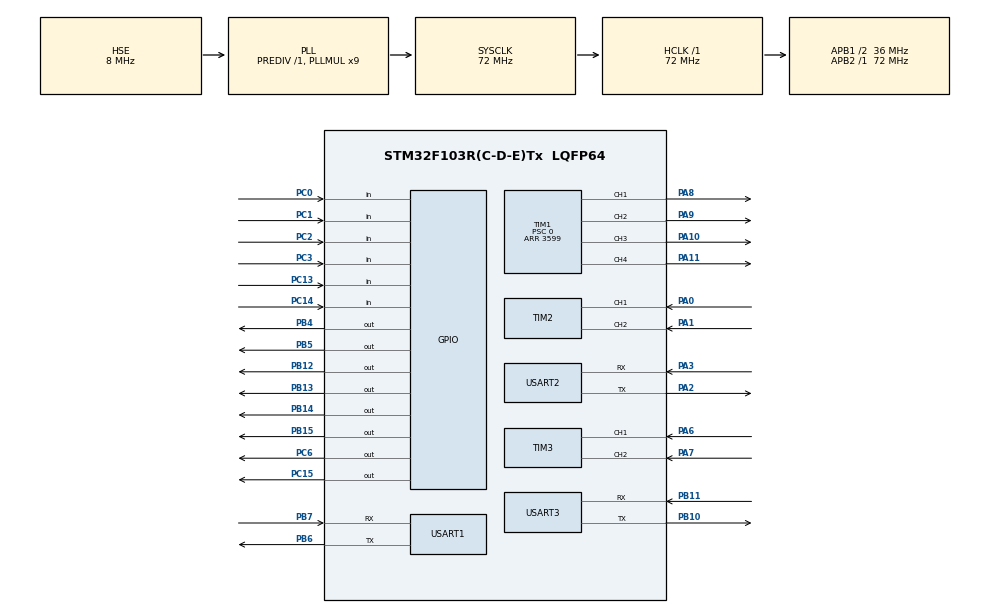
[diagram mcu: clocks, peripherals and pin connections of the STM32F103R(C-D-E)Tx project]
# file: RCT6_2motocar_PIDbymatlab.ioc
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Dma.Request0=USART1_TX
Dma.Request1=USART1_RX
Dma.Request2=USART2_RX
Dma.Request3=USART2_TX
Dma.Request4=USART3_RX
Dma.Request5=USART3_TX
Dma.USART1_RX.1.Direction=DMA_PERIPH_TO_MEMORY
Dma.USART1_RX.1.Instance=DMA1_Channel5
Dma.USART1_RX.1.MemDataAlignment=DMA_MDATAALIGN_BYTE
Dma.USART1_RX.1.MemInc=DMA_MINC_ENABLE
Dma.USART1_RX.1.Mode=DMA_NORMAL
Dma.USART1_RX.1.PeriphDataAlignment=DMA_PDATAALIGN_BYTE
Dma.USART1_RX.1.PeriphInc=DMA_PINC_DISABLE
Dma.USART1_RX.1.Priority=DMA_PRIORITY_LOW
Dma.USART1_TX.0.Direction=DMA_MEMORY_TO_PERIPH
Dma.USART1_TX.0.Instance=DMA1_Channel4
Dma.USART1_TX.0.MemDataAlignment=DMA_MDATAALIGN_BYTE
Dma.USART1_TX.0.MemInc=DMA_MINC_ENABLE
Dma.USART1_TX.0.Mode=DMA_NORMAL
Dma.USART1_TX.0.PeriphDataAlignment=DMA_PDATAALIGN_BYTE
Dma.USART1_TX.0.PeriphInc=DMA_PINC_DISABLE
Dma.USART1_TX.0.Priority=DMA_PRIORITY_LOW
Dma.USART2_RX.2.Direction=DMA_PERIPH_TO_MEMORY
Dma.USART2_RX.2.Instance=DMA1_Channel6
Dma.USART2_RX.2.MemDataAlignment=DMA_MDATAALIGN_BYTE
Dma.USART2_RX.2.MemInc=DMA_MINC_ENABLE
Dma.USART2_RX.2.Mode=DMA_NORMAL
Dma.USART2_RX.2.PeriphDataAlignment=DMA_PDATAALIGN_BYTE
Dma.USART2_RX.2.PeriphInc=DMA_PINC_DISABLE
Dma.USART2_RX.2.Priority=DMA_PRIORITY_LOW
Dma.USART2_TX.3.Direction=DMA_MEMORY_TO_PERIPH
Dma.USART2_TX.3.Instance=DMA1_Channel7
Dma.USART2_TX.3.MemDataAlignment=DMA_MDATAALIGN_BYTE
Dma.USART2_TX.3.MemInc=DMA_MINC_ENABLE
Dma.USART2_TX.3.Mode=DMA_NORMAL
Dma.USART2_TX.3.PeriphDataAlignment=DMA_PDATAALIGN_BYTE
Dma.USART2_TX.3.PeriphInc=DMA_PINC_DISABLE
Dma.USART2_TX.3.Priority=DMA_PRIORITY_LOW
Dma.USART3_RX.4.Direction=DMA_PERIPH_TO_MEMORY
Dma.USART3_RX.4.Instance=DMA1_Channel3
Dma.USART3_RX.4.MemDataAlignment=DMA_MDATAALIGN_BYTE
Dma.USART3_RX.4.MemInc=DMA_MINC_ENABLE
Dma.USART3_RX.4.Mode=DMA_NORMAL
Dma.USART3_RX.4.PeriphDataAlignment=DMA_PDATAALIGN_BYTE
Dma.USART3_RX.4.PeriphInc=DMA_PINC_DISABLE
Dma.USART3_RX.4.Priority=DMA_PRIORITY_LOW
Dma.USART3_TX.5.Direction=DMA_MEMORY_TO_PERIPH
Dma.USART3_TX.5.Instance=DMA1_Channel2
Dma.USART3_TX.5.MemDataAlignment=DMA_MDATAALIGN_BYTE
Dma.USART3_TX.5.MemInc=DMA_MINC_ENABLE
Dma.USART3_TX.5.Mode=DMA_NORMAL
Dma.USART3_TX.5.PeriphDataAlignment=DMA_PDATAALIGN_BYTE
Dma.USART3_TX.5.PeriphInc=DMA_PINC_DISABLE
Dma.USART3_TX.5.Priority=DMA_PRIORITY_LOW
FREERTOS.INCLUDE_vTaskDelayUntil=1
FREERTOS.Tasks01=defaultTask,0,128,StartDefaultTask,Default,NULL,Dynamic,NULL,NULL
FREERTOS.configTOTAL_HEAP_SIZE=20480
Mcu.Family=STM32F1
Mcu.Name=STM32F103R(C-D-E)Tx
Mcu.Package=LQFP64
NVIC.DMA1_Channel2_IRQn=true\:5\:0\:false\:false\:true\:true\:false\:true\:true
NVIC.DMA1_Channel3_IRQn=true\:5\:0\:false\:false\:true\:true\:false\:true\:true
NVIC.DMA1_Channel4_IRQn=true\:5\:0\:false\:false\:true\:true\:false\:true\:true
NVIC.DMA1_Channel5_IRQn=true\:5\:0\:false\:false\:true\:true\:false\:true\:true
NVIC.DMA1_Channel6_IRQn=true\:5\:0\:false\:false\:true\:true\:false\:true\:true
NVIC.DMA1_Channel7_IRQn=true\:5\:0\:false\:false\:true\:true\:false\:true\:true
NVIC.PriorityGroup=NVIC_PRIORITYGROUP_4
NVIC.TIM6_IRQn=true\:15\:0\:false\:false\:true\:false\:false\:true\:true
NVIC.TimeBase=TIM6_IRQn
NVIC.TimeBaseIP=TIM6
NVIC.USART1_IRQn=true\:5\:0\:false\:false\:true\:true\:true\:true\:true
NVIC.USART2_IRQn=true\:5\:0\:false\:false\:true\:true\:true\:true\:true
NVIC.USART3_IRQn=true\:5\:0\:false\:false\:true\:true\:true\:true\:true
PA0-WKUP.GPIO_PuPd=GPIO_PULLUP
PA0-WKUP.Signal=S_TIM2_CH1_ETR
PA1.GPIO_PuPd=GPIO_PULLUP
PA1.Signal=S_TIM2_CH2
PA10.Signal=S_TIM1_CH3
PA11.Signal=S_TIM1_CH4
PA13.Mode=Serial_Wire
PA13.Signal=SYS_JTMS-SWDIO
PA14.Mode=Serial_Wire
PA14.Signal=SYS_JTCK-SWCLK
PA2.Mode=Asynchronous
PA2.Signal=USART2_TX
PA3.Mode=Asynchronous
PA3.Signal=USART2_RX
PA6.GPIO_PuPd=GPIO_PULLUP
PA6.Signal=S_TIM3_CH1
PA7.GPIO_PuPd=GPIO_PULLUP
PA7.Signal=S_TIM3_CH2
PA8.Signal=S_TIM1_CH1
PA9.Signal=S_TIM1_CH2
PB10.Mode=Asynchronous
PB10.Signal=USART3_TX
PB11.Mode=Asynchronous
PB11.Signal=USART3_RX
PB12.GPIO_ModeDefaultOutputPP=GPIO_MODE_OUTPUT_PP
PB12.GPIO_PuPd=GPIO_NOPULL
PB12.GPIO_Speed=GPIO_SPEED_FREQ_LOW
PB12.PinState=GPIO_PIN_RESET
PB12.Signal=GPIO_Output
PB13.GPIO_ModeDefaultOutputPP=GPIO_MODE_OUTPUT_PP
PB13.GPIO_PuPd=GPIO_NOPULL
PB13.GPIO_Speed=GPIO_SPEED_FREQ_LOW
PB13.PinState=GPIO_PIN_RESET
PB13.Signal=GPIO_Output
PB14.GPIO_ModeDefaultOutputPP=GPIO_MODE_OUTPUT_PP
PB14.GPIO_PuPd=GPIO_NOPULL
PB14.GPIO_Speed=GPIO_SPEED_FREQ_LOW
PB14.PinState=GPIO_PIN_RESET
PB14.Signal=GPIO_Output
PB15.GPIO_ModeDefaultOutputPP=GPIO_MODE_OUTPUT_PP
PB15.GPIO_PuPd=GPIO_NOPULL
PB15.GPIO_Speed=GPIO_SPEED_FREQ_LOW
PB15.PinState=GPIO_PIN_RESET
PB15.Signal=GPIO_Output
PB4.GPIO_ModeDefaultOutputPP=GPIO_MODE_OUTPUT_OD
PB4.GPIO_PuPd=GPIO_NOPULL
PB4.Signal=GPIO_Output
PB5.GPIO_ModeDefaultOutputPP=GPIO_MODE_OUTPUT_OD
PB5.GPIO_PuPd=GPIO_NOPULL
PB5.Signal=GPIO_Output
PB6.Mode=Asynchronous
PB6.Signal=USART1_TX
PB7.Mode=Asynchronous
PB7.Signal=USART1_RX
PC0.GPIO_Mode=GPIO_MODE_INPUT
PC0.GPIO_PuPd=GPIO_PULLUP
PC0.Signal=GPIO_Input
PC1.GPIO_Mode=GPIO_MODE_INPUT
PC1.GPIO_PuPd=GPIO_PULLUP
PC1.Signal=GPIO_Input
PC13-TAMPER-RTC.GPIO_Mode=GPIO_MODE_INPUT
PC13-TAMPER-RTC.GPIO_PuPd=GPIO_PULLUP
PC13-TAMPER-RTC.Signal=GPIO_Input
PC14-OSC32_IN.GPIO_Mode=GPIO_MODE_INPUT
PC14-OSC32_IN.GPIO_PuPd=GPIO_PULLUP
PC14-OSC32_IN.Signal=GPIO_Input
PC15-OSC32_OUT.Signal=GPIO_Output
PC2.GPIO_Mode=GPIO_MODE_INPUT
PC2.GPIO_PuPd=GPIO_PULLUP
PC2.Signal=GPIO_Input
PC3.GPIO_Mode=GPIO_MODE_INPUT
PC3.GPIO_PuPd=GPIO_PULLUP
PC3.Signal=GPIO_Input
PC6.GPIO_ModeDefaultOutputPP=GPIO_MODE_OUTPUT_PP
PC6.GPIO_PuPd=GPIO_NOPULL
PC6.GPIO_Speed=GPIO_SPEED_FREQ_LOW
PC6.PinState=GPIO_PIN_RESET
PC6.Signal=GPIO_Output
PD0-OSC_IN.Mode=HSE-External-Oscillator
PD0-OSC_IN.Signal=RCC_OSC_IN
PD1-OSC_OUT.Mode=HSE-External-Oscillator
PD1-OSC_OUT.Signal=RCC_OSC_OUT
ProjectManager.HeapSize=0x400
ProjectManager.StackSize=0x400
ProjectManager.TargetToolchain=MDK-ARM V5.32
RCC.AHBFreq_Value=72000000
RCC.APB1CLKDivider=RCC_HCLK_DIV2
RCC.APB1Freq_Value=36000000
RCC.APB1TimFreq_Value=72000000
RCC.APB2Freq_Value=72000000
RCC.APB2TimFreq_Value=72000000
RCC.HCLKFreq_Value=72000000
RCC.PLLMUL=RCC_PLL_MUL9
RCC.PLLSourceVirtual=RCC_PLLSOURCE_HSE
RCC.SYSCLKFreq_VALUE=72000000
RCC.SYSCLKSource=RCC_SYSCLKSOURCE_PLLCLK
RCC.USBFreq_Value=72000000
SH.S_TIM1_CH1.0=TIM1_CH1,PWM Generation1 CH1
SH.S_TIM1_CH2.0=TIM1_CH2,PWM Generation2 CH2
SH.S_TIM1_CH3.0=TIM1_CH3,PWM Generation3 CH3
SH.S_TIM1_CH4.0=TIM1_CH4,PWM Generation4 CH4
SH.S_TIM2_CH1_ETR.0=TIM2_CH1,Encoder_Interface
SH.S_TIM2_CH2.0=TIM2_CH2,Encoder_Interface
SH.S_TIM3_CH1.0=TIM3_CH1,Encoder_Interface
SH.S_TIM3_CH2.0=TIM3_CH2,Encoder_Interface
TIM1.AutoReloadPreload=TIM_AUTORELOAD_PRELOAD_ENABLE
TIM1.Channel-PWM\ Generation1\ CH1=TIM_CHANNEL_1
TIM1.Channel-PWM\ Generation2\ CH2=TIM_CHANNEL_2
TIM1.Channel-PWM\ Generation3\ CH3=TIM_CHANNEL_3
TIM1.Channel-PWM\ Generation4\ CH4=TIM_CHANNEL_4
TIM1.Period=3599
TIM1.Prescaler=0
TIM2.EncoderMode=TIM_ENCODERMODE_TI12
TIM2.IC1Filter=5
TIM2.IC2Filter=5
TIM2.IC2Polarity=TIM_ICPOLARITY_RISING
TIM3.EncoderMode=TIM_ENCODERMODE_TI12
TIM3.IC1Filter=5
TIM3.IC1Prescaler=TIM_ICPSC_DIV1
TIM3.IC2Filter=5
TIM3.IC2Polarity=TIM_ICPOLARITY_RISING
TIM3.IC2Prescaler=TIM_ICPSC_DIV1
USART1.VirtualMode=VM_ASYNC
USART2.VirtualMode=VM_ASYNC
USART3.VirtualMode=VM_ASYNC
VP_FREERTOS_VS_CMSIS_V1.Mode=CMSIS_V1
VP_SYS_VS_tim6.Mode=TIM6
VP_TIM1_VS_ClockSourceINT.Mode=Internal
board=custom

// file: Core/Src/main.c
/* USER CODE BEGIN Header */
/**
  ******************************************************************************
  * @file           : main.c
  * @brief          : Main program body
  ******************************************************************************
  * @attention
  *
  * Copyright (c) 2026 STMicroelectronics.
  * All rights reserved.
  *
  * This software is licensed under terms that can be found in the LICENSE file
  * in the root directory of this software component.
  * If no LICENSE file comes with this software, it is provided AS-IS.
  *
  ******************************************************************************
  */
/* USER CODE END Header */
#include "main.h"
#include "cmsis_os.h"
#include "dma.h"
#include "tim.h"
#include "usart.h"
#include "gpio.h"

void SystemClock_Config(void);
void MX_FREERTOS_Init(void);

int main(void)
{

  /* MCU Configuration--------------------------------------------------------*/

  /* Reset of all peripherals, Initializes the Flash interface and the Systick. */
  HAL_Init();

  /* Configure the system clock */
  SystemClock_Config();

  /* Initialize all configured peripherals */
  MX_GPIO_Init();
  MX_DMA_Init();
  MX_TIM1_Init();
  MX_TIM2_Init();
  MX_TIM3_Init();
  MX_USART1_UART_Init();
  MX_USART3_UART_Init();
  MX_USART2_UART_Init();
  /* USER CODE BEGIN 2 */
  HAL_GPIO_WritePin(GPIOC, GPIO_PIN_15,1);  /* 蜂鸣器默认关闭（PC15 高电平） */
  /* USER CODE END 2 */

  /* Call init function for freertos objects (in cmsis_os2.c) */
  MX_FREERTOS_Init();

  /* Start scheduler */
  osKernelStart();

  /* We should never get here as control is now taken by the scheduler */

  /* Infinite loop */
  while (1)
  {

  }
}

void SystemClock_Config(void)
{
  RCC_OscInitTypeDef RCC_OscInitStruct = {0};
  RCC_ClkInitTypeDef RCC_ClkInitStruct = {0};

  /** Initializes the RCC Oscillators according to the specified parameters
  * in the RCC_OscInitTypeDef structure.
  */
  RCC_OscInitStruct.OscillatorType = RCC_OSCILLATORTYPE_HSE;
  RCC_OscInitStruct.HSEState = RCC_HSE_ON;
  RCC_OscInitStruct.HSEPredivValue = RCC_HSE_PREDIV_DIV1;
  RCC_OscInitStruct.HSIState = RCC_HSI_ON;
  RCC_OscInitStruct.PLL.PLLState = RCC_PLL_ON;
  RCC_OscInitStruct.PLL.PLLSource = RCC_PLLSOURCE_HSE;
  RCC_OscInitStruct.PLL.PLLMUL = RCC_PLL_MUL9;
  if (HAL_RCC_OscConfig(&RCC_OscInitStruct) != HAL_OK)
  {
    Error_Handler();
  }

  /** Initializes the CPU, AHB and APB buses clocks
  */
  RCC_ClkInitStruct.ClockType = RCC_CLOCKTYPE_HCLK|RCC_CLOCKTYPE_SYSCLK
                              |RCC_CLOCKTYPE_PCLK1|RCC_CLOCKTYPE_PCLK2;
  RCC_ClkInitStruct.SYSCLKSource = RCC_SYSCLKSOURCE_PLLCLK;
  RCC_ClkInitStruct.AHBCLKDivider = RCC_SYSCLK_DIV1;
  RCC_ClkInitStruct.APB1CLKDivider = RCC_HCLK_DIV2;
  RCC_ClkInitStruct.APB2CLKDivider = RCC_HCLK_DIV1;

  if (HAL_RCC_ClockConfig(&RCC_ClkInitStruct, FLASH_LATENCY_2) != HAL_OK)
  {
    Error_Handler();
  }
}

void HAL_TIM_PeriodElapsedCallback(TIM_HandleTypeDef *htim)
{
  if (htim->Instance == TIM6)
  {
    HAL_IncTick();
  }
}

void Error_Handler(void)
{
  __disable_irq();
  while (1)
  {
  }
}

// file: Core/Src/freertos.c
/* USER CODE BEGIN Header */
/**
  ******************************************************************************
  * File Name          : freertos.c
  * Description        : Code for freertos applications
  ******************************************************************************
  * @attention
  *
  * Copyright (c) 2026 STMicroelectronics.
  * All rights reserved.
  *
  * This software is licensed under terms that can be found in the LICENSE file
  * in the root directory of this software component.
  * If no LICENSE file comes with this software, it is provided AS-IS.
  *
  ******************************************************************************
  */
/* USER CODE END Header */

#include "FreeRTOS.h"
#include "task.h"
#include "main.h"
#include "cmsis_os.h"

/* USER CODE BEGIN Includes */
#include "oled.h"
#include "oled_i2c.h"
#include "Ctrl.h"
#include "Gyro.h"
#include "Key.h"
#include "Periph.h"
#include "usart.h"
#include <stdio.h>
/* USER CODE END Includes */

/* USER CODE BEGIN PTD */
typedef enum {
    RECT_PATH_IDLE = 0,
    RECT_PATH_SIDE,
    RECT_PATH_BRAKE,
    RECT_PATH_TURN,
    RECT_PATH_AFTER_TURN
} RectPathState_t;
/* USER CODE END PTD */

/* USER CODE BEGIN PD */
#define CTRL_FAST_MS    10U   /* 速度环周期 */
#define CTRL_SLOW_MS    50U   /* 位置/角度环周期 */
#define KEY_SPEED_TARGET 30    /* 按键速度目标，单位：脉冲/10ms */
#define OLED_POWER_STABLE_MS 150U
#define STARTUP_BEEP_ON_MS    80U
#define STARTUP_BEEP_OFF_MS   80U
#define STARTUP_BEEP_COUNT     3U
#define RECT_SIDE_PULSES       20000L  /* 每条边的编码器平均脉冲数 */
#define RECT_SPEED_FAST           30   /* 巡航速度，脉冲/10ms */
#define RECT_SPEED_MEDIUM         20   /* 第一减速段速度 */
#define RECT_SPEED_SLOW           10   /* 角点前低速 */
#define RECT_DECEL_MEDIUM       1500L  /* 剩余 1500 脉冲进入第一减速段 */
#define RECT_DECEL_SLOW          500L  /* 剩余 500 脉冲进入低速段 */
#define RECT_STOP_MARGIN          40L  /* 允许的角点距离误差 */
#define RECT_CLOCKWISE_ANGLE    90.0f  /* 本工程正角度对应顺时针旋转 */
#define RECT_BRAKE_TICKS          20U  /* 角点主动刹车 200ms */
#define RECT_AFTER_TURN_TICKS     10U  /* 转向后静置 100ms */
#define RECT_TURN_SETTLE_TICKS    20U  /* 连续稳定 200ms 才认为转向完成 */
#define RECT_YAW_TOLERANCE       3.0f  /* 转向完成角度误差，单位：度 */
#define RECT_WZ_TOLERANCE        5.0f  /* 转向完成角速度阈值，单位：度/秒 */
/* USER CODE END PD */

/* USER CODE BEGIN Variables */
static char        uart_tx_buf[64];
static volatile uint8_t uart_tx_busy = 0U;
static volatile uint8_t oled_ready = 0U;
static RectPathState_t rect_path_state = RECT_PATH_IDLE;
static uint8_t rect_side_index = 0U;
static uint8_t rect_wait_ticks = 0U;
static uint8_t rect_turn_settle_ticks = 0U;
static int16_t rect_speed_command = 0;
/* USER CODE END Variables */
osThreadId defaultTaskHandle;
osThreadId oledTaskHandle;
osThreadId keyTaskHandle;

/* USER CODE BEGIN FunctionPrototypes */
static void Startup_RunRightLight(void);
/* USER CODE END FunctionPrototypes */

void StartDefaultTask(void const * argument);
void OLED_DisplayTask(void const * argument);
void Key_ScanTask(void const * argument);

void MX_FREERTOS_Init(void);

/* GetIdleTaskMemory prototype (linked to static allocation support) */
void vApplicationGetIdleTaskMemory( StaticTask_t **ppxIdleTaskTCBBuffer, StackType_t **ppxIdleTaskStackBuffer, uint32_t *pulIdleTaskStackSize );

/* USER CODE BEGIN GET_IDLE_TASK_MEMORY */
static StaticTask_t xIdleTaskTCBBuffer;
static StackType_t xIdleStack[configMINIMAL_STACK_SIZE];

void vApplicationGetIdleTaskMemory( StaticTask_t **ppxIdleTaskTCBBuffer, StackType_t **ppxIdleTaskStackBuffer, uint32_t *pulIdleTaskStackSize )
{
  *ppxIdleTaskTCBBuffer = &xIdleTaskTCBBuffer;
  *ppxIdleTaskStackBuffer = &xIdleStack[0];
  *pulIdleTaskStackSize = configMINIMAL_STACK_SIZE;
}
/* USER CODE END GET_IDLE_TASK_MEMORY */

void MX_FREERTOS_Init(void) {

  /* Create the thread(s) */
  osThreadDef(defaultTask, StartDefaultTask, osPriorityNormal, 0, 256);
  defaultTaskHandle = osThreadCreate(osThread(defaultTask), NULL);

  osThreadDef(oledTask, OLED_DisplayTask, osPriorityLow, 0, 256);
  oledTaskHandle = osThreadCreate(osThread(oledTask), NULL);

  osThreadDef(keyTask, Key_ScanTask, osPriorityLow, 0, 128);
  keyTaskHandle = osThreadCreate(osThread(keyTask), NULL);
}

/**************************************************************************
函数名：StartDefaultTask
函数功能：完成控制器、OLED、通信和按键初始化，执行上电声光提示，并运行 10ms/50ms 控制周期
入口参数：argument - FreeRTOS 任务参数，当前未使用
返回值：无
**************************************************************************/
void StartDefaultTask(void const * argument)
{
  /* USER CODE BEGIN StartDefaultTask */
  TickType_t last_fast;
  uint32_t   slow_cnt = 0U;

  (void)argument;

  Buzzer_Off();
  Ctrl_Init();
  Gyro_Start();
  SerialCmd_Start();
  Key_Init();

  /* 冷启动先释放 I2C 总线，等待 OLED 电源稳定后再发送初始化序列 */
  OLED_I2C_GPIO_Init();
  osDelay(OLED_POWER_STABLE_MS);
  OLED_Init();

  OLED_Clear();
  OLED_ShowString16(8, 24, "System Ready");
  OLED_Refresh();
  oled_ready = 1U;

  /* 三声短鸣期间，流水灯从 LED1 开始向右同步移动 */
  Startup_RunRightLight();

  last_fast = xTaskGetTickCount();

  for (;;)
  {
    vTaskDelayUntil(&last_fast, pdMS_TO_TICKS(CTRL_FAST_MS));

    Ctrl_Update10ms();

    slow_cnt++;
    if (slow_cnt >= (CTRL_SLOW_MS / CTRL_FAST_MS))
    {
      slow_cnt = 0U;
      Ctrl_Update50ms();
    }
  }
  /* USER CODE END StartDefaultTask */
}

/* USER CODE BEGIN Application */

/**************************************************************************
函数名：Startup_RunRightLight
函数功能：上电三声蜂鸣期间驱动流水灯向右移动，蜂鸣时点亮、静音时熄灭
入口参数：无
返回值：无
**************************************************************************/
static void Startup_RunRightLight(void)
{
    static const uint8_t led_order[] = {LED1, LED2, LED3, LED4, LED5};
    uint8_t i;

    LED_AllOff();

    for (i = 0U; i < STARTUP_BEEP_COUNT; i++)
    {
        LED_On(led_order[i % (sizeof(led_order) / sizeof(led_order[0]))]);
        Buzzer_On();
        osDelay(STARTUP_BEEP_ON_MS);

        Buzzer_Off();
        LED_AllOff();

        if (i + 1U < STARTUP_BEEP_COUNT)
            osDelay(STARTUP_BEEP_OFF_MS);
    }
}

/**************************************************************************
函数名：OLED_DisplayTask
函数功能：周期刷新 OLED，并通过 USART1 输出控制器诊断数据
入口参数：argument - FreeRTOS 任务参数，当前未使用
返回值：无
**************************************************************************/
void OLED_DisplayTask(void const * argument)
{
    char line[17];
    TickType_t last_wake;
    Ctrl_Status_t snap;
    const char *mode_str[] = {"STOP", "FWD", "TURN", "POS"};

    (void)argument;

    /* 等待默认任务完成 OLED 冷启动初始化，避免两个任务同时访问软件 I2C */
    while (!oled_ready)
        osDelay(10);

    last_wake = xTaskGetTickCount();

    for (;;)
    {
        vTaskDelayUntil(&last_wake, pdMS_TO_TICKS(200));

        taskENTER_CRITICAL();
        snap = g_ctrl;
        taskEXIT_CRITICAL();

        OLED_Clear();

        sprintf(line, "VA:%+4d VB:%+4d", snap.speed_a, snap.speed_b);
        OLED_ShowString16(0, 0, line);

        sprintf(line, "Y:%+4d WZ:%+4d", (int)(snap.yaw * 10.0f), (int)(snap.wz * 10.0f));
        OLED_ShowString16(0, 16, line);

        sprintf(line, "P:%+6ld Tp:%+5ld", (long)snap.pos_a, (long)snap.tar_pos_a);
        OLED_ShowString16(0, 32, line);

        if (snap.mode < 4)
            sprintf(line, "Yt:%+4d %s", (int)(snap.tar_yaw * 10.0f), mode_str[snap.mode]);
        else
            sprintf(line, "Yt:%+4d ?", (int)(snap.tar_yaw * 10.0f));
        OLED_ShowString16(0, 48, line);

        OLED_Refresh();

        if (!uart_tx_busy)
        {
            // int n = sprintf(uart_tx_buf, "%d,%d,%d,%d,%d,%d,%d,%d\n",
            //     (int)snap.yaw, (int)snap.tar_yaw,
            //     snap.target_speed_a, snap.target_speed_b,
            //     snap.speed_a, snap.speed_b,
            //     snap.ccr_a, snap.ccr_b);
            int n = sprintf(uart_tx_buf, "%d\n",(int)snap.yaw);
            uart_tx_busy = 1U;
            if (HAL_UART_Transmit_DMA(&huart1, (uint8_t*)uart_tx_buf, n) != HAL_OK)
                uart_tx_busy = 0U;
        }
    }
}

void HAL_UART_TxCpltCallback(UART_HandleTypeDef *huart)
{
    if (huart->Instance == USART1)
        uart_tx_busy = 0U;
}

/**************************************************************************
函数名：RectPath_WrapAngle
函数功能：将角度误差归一化到 -180°~+180°
入口参数：angle - 待归一化的角度，单位：度
返回值：归一化后的角度
**************************************************************************/
static float RectPath_WrapAngle(float angle)
{
    while (angle > 180.0f) angle -= 360.0f;
    while (angle < -180.0f) angle += 360.0f;
    return angle;
}

/**************************************************************************
函数名：RectPath_SetSpeed
函数功能：仅在矩形路径目标速度变化时更新双轮速度
入口参数：speed - 双轮目标速度，单位：脉冲/10ms
返回值：无
**************************************************************************/
static void RectPath_SetSpeed(int16_t speed)
{
    if (speed != rect_speed_command)
    {
        rect_speed_command = speed;
        Ctrl_SetTargetSpeed(speed, speed);
    }
}

/**************************************************************************
函数名：RectPath_StartSide
函数功能：清零本边里程，保留规划航向并启动直线巡航
入口参数：无
返回值：无
**************************************************************************/
static void RectPath_StartSide(void)
{
    Ctrl_SetMode(STOP);
    Ctrl_ZeroPos();

    rect_speed_command = RECT_SPEED_FAST;
    Ctrl_SetTargetSpeed(RECT_SPEED_FAST, RECT_SPEED_FAST);
    rect_path_state = RECT_PATH_SIDE;
}

/**************************************************************************
函数名：RectPath_Start
函数功能：从第一条边启动四边等长的顺时针矩形路径
入口参数：无
返回值：无
**************************************************************************/
static void RectPath_Start(void)
{
    rect_side_index = 0U;
    rect_wait_ticks = 0U;
    rect_turn_settle_ticks = 0U;
    Ctrl_SetMode(STOP);
    Ctrl_CalibrateYaw();
    RectPath_StartSide();
}

/**************************************************************************
函数名：RectPath_Stop
函数功能：取消矩形路径并立即主动刹车
入口参数：无
返回值：无
**************************************************************************/
static void RectPath_Stop(void)
{
    rect_path_state = RECT_PATH_IDLE;
    rect_side_index = 0U;
    rect_wait_ticks = 0U;
    rect_turn_settle_ticks = 0U;
    rect_speed_command = 0;
    Ctrl_SetMode(STOP);
}

/**************************************************************************
函数名：RectPath_Update
函数功能：每 10ms 推进直行、刹车、顺时针转向和下一边状态
入口参数：无
返回值：无
**************************************************************************/
static void RectPath_Update(void)
{
    Ctrl_Status_t snap;
    int32_t travelled;
    int32_t remaining;
    float yaw_error;
    float wz_abs;

    if (rect_path_state == RECT_PATH_IDLE)
        return;

    taskENTER_CRITICAL();
    snap = g_ctrl;
    taskEXIT_CRITICAL();

    switch (rect_path_state)
    {
    case RECT_PATH_SIDE:
        if (snap.mode != FORWARD)
        {
            RectPath_Stop();
            break;
        }

        travelled = (snap.pos_a + snap.pos_b) / 2;
        if (travelled < 0) travelled = -travelled;
        remaining = RECT_SIDE_PULSES - travelled;

        if (remaining <= RECT_STOP_MARGIN)
        {
            Ctrl_SetMode(STOP);
            rect_speed_command = 0;
            rect_wait_ticks = RECT_BRAKE_TICKS;
            rect_path_state = RECT_PATH_BRAKE;
        }
        else if (remaining <= RECT_DECEL_SLOW)
        {
            RectPath_SetSpeed(RECT_SPEED_SLOW);
        }
        else if (remaining <= RECT_DECEL_MEDIUM)
        {
            RectPath_SetSpeed(RECT_SPEED_MEDIUM);
        }
        else
        {
            RectPath_SetSpeed(RECT_SPEED_FAST);
        }
        break;

    case RECT_PATH_BRAKE:
        if (rect_wait_ticks > 0U)
        {
            rect_wait_ticks--;
        }
        else
        {
            rect_turn_settle_ticks = 0U;
            Ctrl_AddTargetYaw(RECT_CLOCKWISE_ANGLE);
            rect_path_state = RECT_PATH_TURN;
        }
        break;

    case RECT_PATH_TURN:
        if (snap.mode != TURN)
        {
            RectPath_Stop();
            break;
        }

        yaw_error = RectPath_WrapAngle(snap.tar_yaw - snap.yaw);
        if (yaw_error < 0.0f) yaw_error = -yaw_error;
        wz_abs = (snap.wz < 0.0f) ? -snap.wz : snap.wz;

        if (yaw_error <= RECT_YAW_TOLERANCE && wz_abs <= RECT_WZ_TOLERANCE)
        {
            if (rect_turn_settle_ticks < RECT_TURN_SETTLE_TICKS)
                rect_turn_settle_ticks++;
        }
        else
        {
            rect_turn_settle_ticks = 0U;
        }

        if (rect_turn_settle_ticks >= RECT_TURN_SETTLE_TICKS)
        {
            Ctrl_SetMode(STOP);
            rect_side_index++;

            if (rect_side_index >= 4U)
            {
                rect_path_state = RECT_PATH_IDLE;
                rect_speed_command = 0;
            }
            else
            {
                rect_wait_ticks = RECT_AFTER_TURN_TICKS;
                rect_path_state = RECT_PATH_AFTER_TURN;
            }
        }
        break;

    case RECT_PATH_AFTER_TURN:
        if (rect_wait_ticks > 0U)
        {
            rect_wait_ticks--;
        }
        else
        {
            RectPath_StartSide();
        }
        break;

    default:
        RectPath_Stop();
        break;
    }
}

/**************************************************************************
函数名：Key_ScanTask
函数功能：每 10ms 扫描 K1~K4 和串口命令；K1 前进、K2 后退、K3 急停
          K4 启动或取消顺时针固定矩形路径，K5~K6 保持禁用
入口参数：argument - FreeRTOS 任务参数，当前未使用
返回值：无
**************************************************************************/
void Key_ScanTask(void const * argument)
{
    (void)argument;

    for (;;)
    {
        uint8_t scmd = SerialCmd_GetCmd();
        uint8_t k1_pressed;
        uint8_t k2_pressed;
        uint8_t k3_pressed;
        uint8_t k4_pressed;

        Key_Process();
        k1_pressed = Key_GetPress(KEY_K1);
        k2_pressed = Key_GetPress(KEY_K2);
        k3_pressed = Key_GetPress(KEY_K3);
        k4_pressed = Key_GetPress(KEY_K4);

        /* 急停优先于同周期到达的任何运动命令 */
        if (scmd == 3U || k3_pressed)
        {
            RectPath_Stop();
        }
        else if (scmd == 1U || k1_pressed)
        {
            RectPath_Stop();
            /* 双轮闭环前进：锁定当前航向，目标 +30 脉冲/10ms */
            Ctrl_CalibrateYaw();
            Ctrl_SetMode(FORWARD);
            Ctrl_SetTargetSpeed(KEY_SPEED_TARGET, KEY_SPEED_TARGET);
        }
        else if (scmd == 2U || k2_pressed)
        {
            RectPath_Stop();
            /* 双轮闭环后退：锁定当前航向，目标 -30 脉冲/10ms */
            Ctrl_CalibrateYaw();
            Ctrl_SetMode(FORWARD);
            Ctrl_SetTargetSpeed(-KEY_SPEED_TARGET, -KEY_SPEED_TARGET);
        }
        else if (scmd == 4U || k4_pressed)
        {
            if (rect_path_state == RECT_PATH_IDLE)
                RectPath_Start();
            else
                RectPath_Stop();
        }
        else
        {
            RectPath_Update();
        }
        osDelay(10);
    }
}

/* USER CODE END Application */
